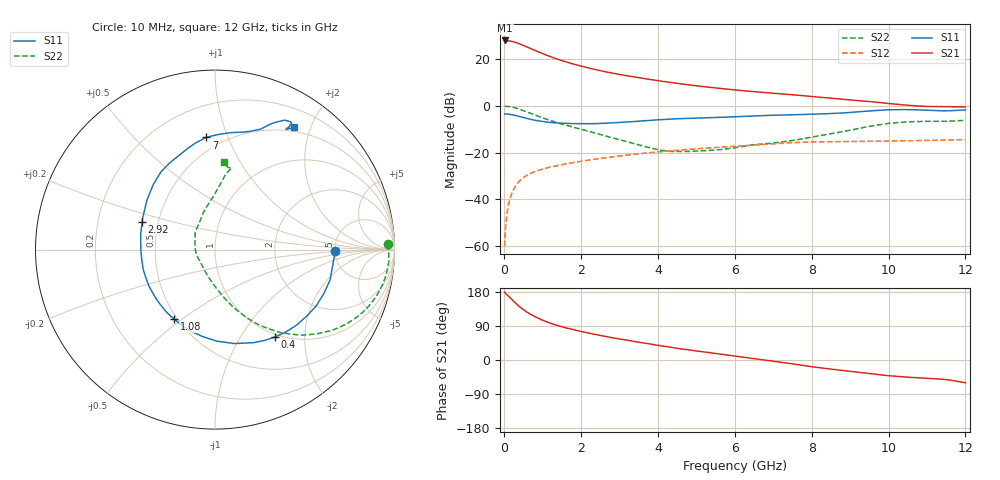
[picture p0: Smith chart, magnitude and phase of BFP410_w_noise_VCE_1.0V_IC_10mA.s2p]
! Infineon Technologies  Discrete & RF Semiconductors
! BFP410
! VCE =  1.0 V,  IC =  10 mA
! Common Emitter S-Parameters:  Nov 2015
# GHz  S  MA  R  50
!  f  S11  S21  S12  S22
! GHz  MAG  ANG  MAG  ANG  MAG  ANG  MAG  ANG
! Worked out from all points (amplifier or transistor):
!   243 points, 10 MHz to 12 GHz, reference 50 ohm
!   highest |S21| = 27.9 dB at 20 MHz (marker M1)
!   |S21| within 3 dB of that: start of sweep to 623.5 MHz
!   unconditionally stable (mu >= 1): 2.324 GHz to end of sweep
!   at 240 MHz: K = 0.17, MSG = 31.6 dB, |S12| = -35.9 dB
!   at 1.84 GHz: K = 0.87, MSG = 20.9 dB, |S12| = -24.2 dB
!   at 12 GHz: K = 1.02, MAG = 6.0 dB, |S12| = -14.4 dB
!   lowest NFmin = 1.28 dB at 900 MHz
!   S11 on the Smith chart (normalised r, x): 10 MHz: 5.01, -0.13; 400 MHz: 0.96, -1.43; 1.08 GHz: 0.48, -0.47; 2.92 GHz: 0.41, +0.16; 7 GHz: 0.41, +0.84; 12 GHz: 0.44, +1.75
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0.01  0.6676 -0.6  24.53 179.5  0.001 88.3  0.9624 1.8
0.02  0.6669 -2.6  24.77 177.7  0.0016 90.1  0.968 -1.0
0.1  0.663 -14.7  24.48 169.4  0.007 83.5  0.9659 -7.9
0.22  0.6386 -31.8  23.36 157.1  0.0148 75.9  0.9288 -17.3
0.3  0.6194 -42.7  22.4 149.4  0.0196 71.4  0.8932 -23.1
0.4  0.5905 -55.5  20.93 140.7  0.0248 66.6  0.8406 -29.5
0.5  0.5612 -67.5  19.4 132.9  0.0293 62.6  0.7856 -35.2
0.6  0.5345 -78.4  17.88 125.7  0.033 59.1  0.7309 -40.1
0.7  0.5104 -88.6  16.48 119.7  0.0364 56.3  0.6802 -44.5
0.9  0.4742 -106.4  14.02 109.3  0.042 52.2  0.5902 -51.6
1.08  0.4498 -120.3  12.21 101.7  0.0462 49.7  0.5221 -56.7
1.28  0.4334 -133.6  10.6 94.4  0.0506 47.6  0.4603 -61.6
1.44  0.4245 -142.8  9.537 89.5  0.0538 46.5  0.4189 -64.9
1.68  0.4172 -155.0  8.287 82.8  0.0586 44.8  0.3685 -69.2
2.02  0.4124 -169.7  6.941 74.9  0.0655 43.0  0.3117 -74.7
2.92  0.4348 159.0  4.783 56.9  0.0828 37.4  0.1953 -92.2
4.1  0.5048 131.5  3.337 37.2  0.105 29.1  0.1114 -132.6
6.1  0.5863 104.4  2.138 9.1  0.1377 13.8  0.1302 148.4
7  0.6266 94.5  1.848 -3.3  0.1536 6.4  0.1598 128.0
8.2  0.6653 79.1  1.52 -20.3  0.1692 -6.6  0.2281 104.3
10.2  0.8231 60.5  1.077 -43.0  0.1768 -22.0  0.433 81.1
12  0.8123 57.2  0.943 -60.1  0.1899 -36.1  0.4877 84.4
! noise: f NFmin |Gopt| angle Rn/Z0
0.45  1.31  0.05  -19  0.16
0.9  1.28  0.04  1  0.16
1.8  1.42  0.03  -159  0.16
2.4  1.4  0.09  -121  0.17
5.5  2.27  0.35  -113  0.27
10  3.42  0.67  -49  1.87
